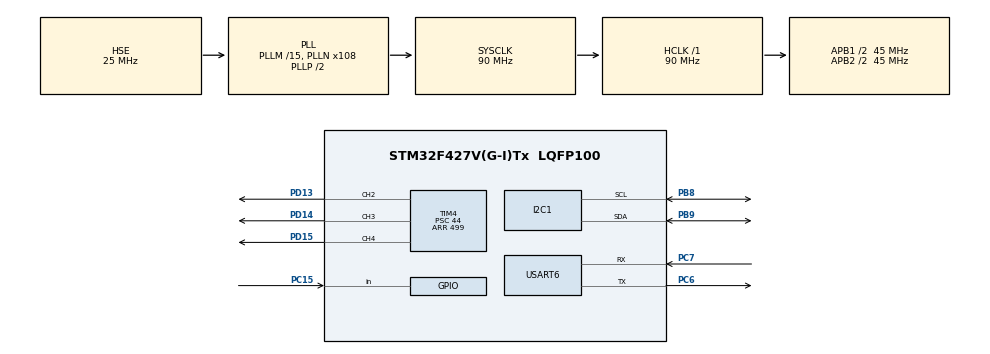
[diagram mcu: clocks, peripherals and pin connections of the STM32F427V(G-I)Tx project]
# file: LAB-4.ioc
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I2C1.I2C_Mode=I2C_Fast
Mcu.Family=STM32F4
Mcu.Name=STM32F427V(G-I)Tx
Mcu.Package=LQFP100
NVIC.PriorityGroup=NVIC_PRIORITYGROUP_4
NVIC.TIM6_DAC_IRQn=true\:0\:0\:false\:false\:true\:true\:true\:true
NVIC.USART6_IRQn=true\:0\:0\:false\:false\:true\:true\:true\:true
PA13.Mode=JTAG_5_pins
PA13.Signal=SYS_JTMS-SWDIO
PA14.Mode=JTAG_5_pins
PA14.Signal=SYS_JTCK-SWCLK
PA15.Mode=JTAG_5_pins
PA15.Signal=SYS_JTDI
PB3.Mode=JTAG_5_pins
PB3.Signal=SYS_JTDO-SWO
PB4.Mode=JTAG_5_pins
PB4.Signal=SYS_JTRST
PB8.Mode=I2C
PB8.Signal=I2C1_SCL
PB9.Mode=I2C
PB9.Signal=I2C1_SDA
PC15/OSC32_OUT.Signal=GPIO_Input
PC6.Mode=Asynchronous
PC6.Signal=USART6_TX
PC7.Mode=Asynchronous
PC7.Signal=USART6_RX
PD13.Signal=S_TIM4_CH2
PD14.Signal=S_TIM4_CH3
PD15.Signal=S_TIM4_CH4
PH0/OSC_IN.Mode=HSE-External-Oscillator
PH0/OSC_IN.Signal=RCC_OSC_IN
PH1/OSC_OUT.Mode=HSE-External-Oscillator
PH1/OSC_OUT.Signal=RCC_OSC_OUT
ProjectManager.HeapSize=0x200
ProjectManager.StackSize=0x400
ProjectManager.TargetToolchain=STM32CubeIDE
RCC.48MHZClocksFreq_Value=45000000
RCC.AHBFreq_Value=90000000
RCC.APB1CLKDivider=RCC_HCLK_DIV2
RCC.APB1Freq_Value=45000000
RCC.APB1TimFreq_Value=90000000
RCC.APB2CLKDivider=RCC_HCLK_DIV2
RCC.APB2Freq_Value=45000000
RCC.APB2TimFreq_Value=90000000
RCC.CortexFreq_Value=90000000
RCC.HCLKFreq_Value=90000000
RCC.HSE_VALUE=25000000
RCC.HSI_VALUE=16000000
RCC.LSE_VALUE=32768
RCC.PLLM=15
RCC.PLLN=108
RCC.PLLSourceVirtual=RCC_PLLSOURCE_HSE
RCC.SYSCLKFreq_VALUE=90000000
RCC.SYSCLKSource=RCC_SYSCLKSOURCE_PLLCLK
RCC.VCOOutputFreq_Value=180000000
SH.S_TIM4_CH2.0=TIM4_CH2,PWM Generation2 CH2
SH.S_TIM4_CH3.0=TIM4_CH3,PWM Generation3 CH3
SH.S_TIM4_CH4.0=TIM4_CH4,PWM Generation4 CH4
TIM4.Channel-PWM\ Generation2\ CH2=TIM_CHANNEL_2
TIM4.Channel-PWM\ Generation3\ CH3=TIM_CHANNEL_3
TIM4.Channel-PWM\ Generation4\ CH4=TIM_CHANNEL_4
TIM4.Period=499
TIM4.Prescaler=44
TIM4.Pulse-PWM\ Generation3\ CH3=0
TIM4.Pulse-PWM\ Generation4\ CH4=0
TIM6.Period=499
TIM6.Prescaler=8999
USART6.VirtualMode=VM_ASYNC
VP_TIM4_VS_ClockSourceINT.Mode=Internal
VP_TIM6_VS_ClockSourceINT.Mode=Enable_Timer
board=custom

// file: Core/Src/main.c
/* USER CODE BEGIN Header */
/**
  ******************************************************************************
  * @file           : main.c
  * @brief          : Main program body
  ******************************************************************************
  * @attention
  *
  * Copyright (c) 2026 STMicroelectronics.
  * All rights reserved.
  *
  * This software is licensed under terms that can be found in the LICENSE file
  * in the root directory of this software component.
  * If no LICENSE file comes with this software, it is provided AS-IS.
  *
  ******************************************************************************
  */
/* USER CODE END Header */
#include "main.h"
#include "i2c.h"
#include "tim.h"
#include "usart.h"
#include "gpio.h"

/* USER CODE BEGIN Includes */
#include <stdbool.h>
#include <stdint.h>
#include <string.h>
#include <stdio.h>
#include "uart_buf.h"
#include "uart_driver.h"
#include "garland.h"
#include "input_handler.h"
#include "i2c_driver.h"
#include "button_driver.h"
/* USER CODE END Includes */

void SystemClock_Config(void);

/* USER CODE BEGIN 0 */

void print_buf() {
	HAL_UART_Transmit(&huart6, (uint8_t *) &info_buf, strlen(info_buf), 10);
}

/* USER CODE END 0 */

int main(void)
{

  /* MCU Configuration--------------------------------------------------------*/

  /* Reset of all peripherals, Initializes the Flash interface and the Systick. */
  HAL_Init();

  /* Configure the system clock */
  SystemClock_Config();

  /* Initialize all configured peripherals */
  MX_GPIO_Init();
  MX_TIM4_Init();
  MX_USART6_UART_Init();
  MX_TIM6_Init();
  MX_I2C1_Init();

  /* Infinite loop */
  /* USER CODE BEGIN WHILE */
  HAL_TIM_PWM_Start(&htim4, TIM_CHANNEL_2);
  HAL_TIM_PWM_Start(&htim4, TIM_CHANNEL_3);
  HAL_TIM_PWM_Start(&htim4, TIM_CHANNEL_4);
  HAL_TIM_Base_Start_IT(&htim6);

  uart_buf buffer;
  uart_buf_reset(&buffer);

  keyboard_init();

  bool debug_mode = false;
  while (1)
  {
	  if (update_button_state() == 1) {
		  debug_mode = !debug_mode;
		  if (debug_mode) {
			  keyboard_reset();
			  sprintf(info_buf, "DEBUG MODE ENABLED\r\n");
		  } else {
			  sprintf(info_buf, "DEBUG MODE DISABLED\r\n");
		  }
		  print_buf(info_buf);
	  }

	  int pressed = update_keyboard_state();
	  if (pressed >= 0) {
		  if (debug_mode) {
			  sprintf(info_buf, "PRESSED: %d\r\n", pressed + 1);
			  print_buf(info_buf);
		  } else {
			  handle_input(pressed);
			  print_buf(info_buf);
		  }
	  }

    /* USER CODE END WHILE */

  }
}

void SystemClock_Config(void)
{
  RCC_OscInitTypeDef RCC_OscInitStruct = {0};
  RCC_ClkInitTypeDef RCC_ClkInitStruct = {0};

  /** Configure the main internal regulator output voltage
  */
  __HAL_RCC_PWR_CLK_ENABLE();
  __HAL_PWR_VOLTAGESCALING_CONFIG(PWR_REGULATOR_VOLTAGE_SCALE3);

  /** Initializes the RCC Oscillators according to the specified parameters
  * in the RCC_OscInitTypeDef structure.
  */
  RCC_OscInitStruct.OscillatorType = RCC_OSCILLATORTYPE_HSE;
  RCC_OscInitStruct.HSEState = RCC_HSE_ON;
  RCC_OscInitStruct.PLL.PLLState = RCC_PLL_ON;
  RCC_OscInitStruct.PLL.PLLSource = RCC_PLLSOURCE_HSE;
  RCC_OscInitStruct.PLL.PLLM = 15;
  RCC_OscInitStruct.PLL.PLLN = 108;
  RCC_OscInitStruct.PLL.PLLP = RCC_PLLP_DIV2;
  RCC_OscInitStruct.PLL.PLLQ = 4;
  if (HAL_RCC_OscConfig(&RCC_OscInitStruct) != HAL_OK)
  {
    Error_Handler();
  }

  /** Activate the Over-Drive mode
  */
  if (HAL_PWREx_EnableOverDrive() != HAL_OK)
  {
    Error_Handler();
  }

  /** Initializes the CPU, AHB and APB buses clocks
  */
  RCC_ClkInitStruct.ClockType = RCC_CLOCKTYPE_HCLK|RCC_CLOCKTYPE_SYSCLK
                              |RCC_CLOCKTYPE_PCLK1|RCC_CLOCKTYPE_PCLK2;
  RCC_ClkInitStruct.SYSCLKSource = RCC_SYSCLKSOURCE_PLLCLK;
  RCC_ClkInitStruct.AHBCLKDivider = RCC_SYSCLK_DIV1;
  RCC_ClkInitStruct.APB1CLKDivider = RCC_HCLK_DIV2;
  RCC_ClkInitStruct.APB2CLKDivider = RCC_HCLK_DIV2;

  if (HAL_RCC_ClockConfig(&RCC_ClkInitStruct, FLASH_LATENCY_2) != HAL_OK)
  {
    Error_Handler();
  }
}

void Error_Handler(void)
{
  __disable_irq();
  while (1)
  {
  }
}
